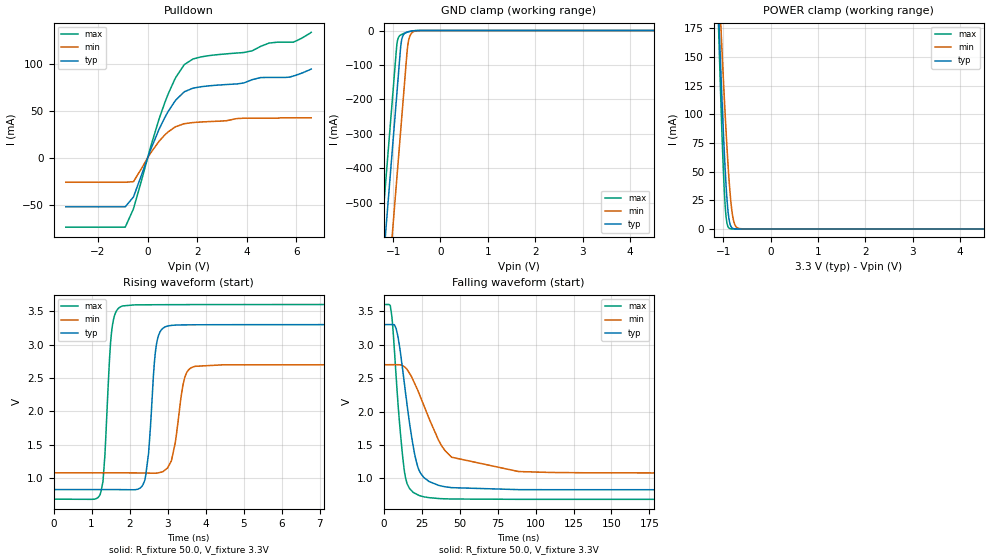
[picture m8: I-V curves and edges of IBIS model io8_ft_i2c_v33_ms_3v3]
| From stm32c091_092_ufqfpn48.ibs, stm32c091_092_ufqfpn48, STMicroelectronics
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[Model]   io8_ft_i2c_v33_ms_3v3
Model_type I/O_open_drain
Polarity   Non-Inverting
Enable   Active-Low
| CAP_THRESHOLD on pad IOFT is "UDTCAPC" :
| Rising=30.0% of vddiom   Falling=70.0% of vddiom
| C_comp min and max val. don't necessarily correlate with the min and max pvt
| but are the smallest and greatest pad capacitance found.
| var   typ   min   max
C_comp   2.42806pF  2.37063pF  2.44147pF
|C_comp_pulldown   2.42806pF  2.37063pF  2.44147pF
Vinl = 1.35V
Vinh = 1.8V
Vmeas = 1.65V   | Reference voltage for timing measurements
Cref  = 50.0pF   | Timing specification test load capacitance value
Rref  = 1.0MOhm   | Timing specification test load resistance value
Vref  = 1.815V   | Timing specification test load voltage
[Model Spec]
| TIME_THRESHOLD on pin ZII2CV12 is "CMOS" :
| Rising=50.0% of vdd   Falling=50.0% of vdd
Vinl 1.34770V 1.11370V 1.44970V
Vinh 1.77530V 1.49530V 1.90330V
| variable   typ   min   max
[Temperature Range] 25.0 125.0 -40.0
| variable   typ   min   max
[Voltage Range] 3.3V 2.7V 3.6V
| variable   typ   min   max
[POWER Clamp Reference] 3.3V 2.7V 3.6V
| variable   typ   min   max
[GND Clamp Reference] 0V 0V 0V
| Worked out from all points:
|   slope of the pulldown table from 0 to 0.495 V, typ, clamps not added: 15.4 ohm
|   GND clamp passes 1 mA (typ) near -0.58 V on its own axis
|   POWER clamp passes 1 mA (typ) near -0.81 V on its own axis
|   rising waveform, R_fixture 50.0, V_fixture 3.3V: 20-80 % time 176ps typ, 244ps min, 157ps max; typ from 0.831 V to 3.3 V
|   falling waveform, R_fixture 50.0, V_fixture 3.3V: 20-80 % time 9.27ns typ, 19.5ns min, 6.03ns max; typ from 3.3 V to 0.831 V
[POWER Clamp]
-3.3V     2.991A     2.543A     3.694A
-1.1V     191.1mA    222.7mA    177.1mA
-1.08V    169mA      204.2mA    149.9mA
-1.05V    136.9mA    176.9mA    110.9mA
-1.01V    96.55mA    141.6mA    64.02mA
-970mV    60.39mA    108.2mA    27.41mA
-930mV    31.08mA    77.43mA    7.282mA
-900mV    15.67mA    56.69mA    2.025mA
-860mV    4.779mA    33.42mA    315.2uA
-780mV    272.1uA    6.953mA    6.98uA
-670mV    4.467uA    374.2uA    36.58nA
6.6V      0A         0A         0A
[GND Clamp]
-3.3V     -4.227A    -4.472A    -4.082A
-1.25V    -742.2mA   -986.7mA   -597.4mA
-930mV    -198.2mA   -442.7mA   -53.39mA
-920mV    -181.2mA   -425.7mA   -39.67mA
-890mV    -130.2mA   -374.7mA   -20.93mA
-830mV    -35.33mA   -272.7mA   -12.06mA
-790mV    -14.13mA   -204.7mA   -9.442mA
-720mV    -5.312mA   -85.66mA   -5.702mA
-690mV    -3.888mA   -42.66mA   -4.338mA
-650mV    -2.529mA   -17.47mA   -2.784mA
-480mV    -113.2uA   -479.8uA   -69.15uA
6.6V      942.9pA    93.37nA    678.9pA
| variable   typ   min   max
[Pullup Reference] 3.3V 2.7V 3.6V
| variable   typ   min   max
[Pulldown Reference] 0V 0V 0V
[Pulldown]
-3.3V     -51.88mA   -25.81mA   -73.46mA
-900mV    -51.88mA   -25.81mA   -73.32mA
-570mV    -41.39mA   -25.18mA   -53.99mA
120mV     8.622mA    5.148mA    11.58mA
690mV     42.7mA     24.28mA    58.45mA
1.08V     59.39mA    32.34mA    82.54mA
1.48V     70.24mA    36.36mA    99.08mA
2.17V     75.62mA    38.17mA    107.3mA
3.88V     79.57mA    42.16mA    111.9mA
4.9V      85.45mA    42.16mA    121.9mA
5.88V     86.9mA     42.6mA     122.9mA
6.6V      94.4mA     42.6mA     133.3mA
[Ramp]
dV/dt_r 1.48134V/174.52178ps 971.10145mV/243.62356ps 1.74774V/156.68958ps
dV/dt_f 1.48135V/9.27456ns 971.1224mV/19.53518ns 1.74774V/6.00857ns
R_load = 50.0
| Removed startup time: 0s 0s 0s  .
| Removed end time: 39.875ns.
[Rising Waveform]
R_fixture   = 50.0
V_fixture   = 3.3V
V_fixture_min = 2.7V
V_fixture_max = 3.6V
0s        831.1mV    1.081V     687.1mV
1.225ns   831.1mV    1.081V     756.6mV
1.525ns   830.8mV    1.081V     3.182V
1.825ns   830.1mV    1.081V     3.579V
2.4ns     969mV      1.079V     3.596V
2.7ns     2.981V     1.078V     3.597V
3.1ns     3.287V     1.263V     3.597V
3.425ns   3.295V     2.449V     3.598V
3.725ns   3.297V     2.675V     3.598V
39.88ns   3.3V       2.7V       3.6V
| Removed startup time: 0s 0s 0s  .
| Removed end time: 399.875ns.
[Falling Waveform]
R_fixture   = 50.0
V_fixture   = 3.3V
V_fixture_min = 2.7V
V_fixture_max = 3.6V
0s        3.3V       2.7V       3.6V
5.35ns    3.3V       2.7V       3.431V
9.475ns   3.115V     2.7V       2.11V
14.33ns   2.294V     2.656V     1.016V
19.08ns   1.53V      2.485V     800.3mV
23.35ns   1.121V     2.267V     744.6mV
36.27ns   895.4mV    1.565V     699.1mV
44.8ns    861.6mV    1.316V     691.7mV
88.88ns   832mV      1.102V     687.1mV
399.9ns   831.1mV    1.081V     687.1mV
